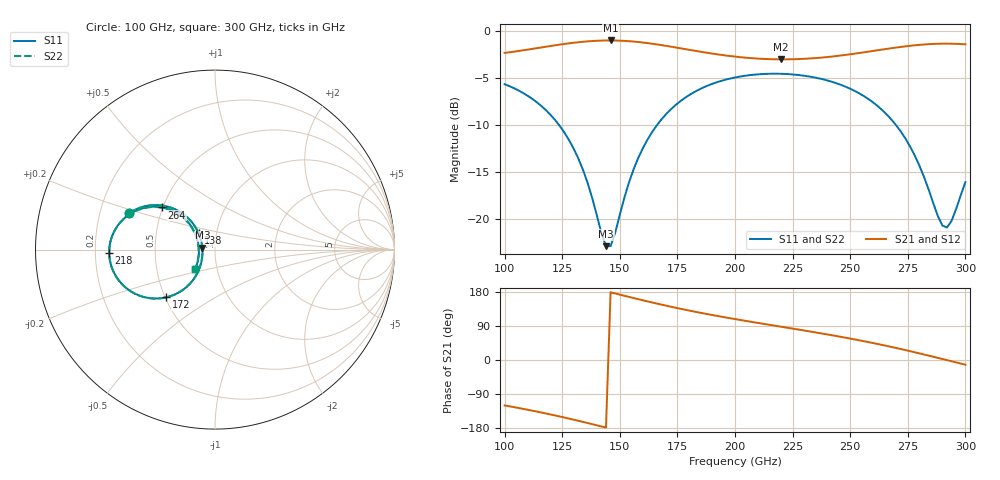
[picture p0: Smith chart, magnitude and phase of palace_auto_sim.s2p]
#  GHZ S DB R 50
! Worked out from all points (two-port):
!   101 points, 100 GHz to 300 GHz, reference 50 ohm
!   highest |S21| = -1.05 dB at 146 GHz (marker M1); lowest = -3.1 dB at 220 GHz (marker M2)
!   |S21| within 3 dB of the highest: start of sweep to end of sweep
!   lowest |S11| = -22.9 dB at 144 GHz (marker M3), VSWR 1.15, Z = 43.4 + j0.98 ohm
!   |S11| at or under -10 dB: 123.5 GHz to 166.3 GHz (42.8 GHz wide, 29.5 % of centre); 269.7 GHz to end of sweep
!   |S22| runs from -22.9 to -4.6 dB; largest |S21 - S12| = 1.4e-13
!   S11 on the Smith chart (normalised r, x): 100 GHz: 0.33, +0.18; 138 GHz: 0.82, +0.15; 172 GHz: 0.51, -0.32; 218 GHz: 0.26, -0.01; 264 GHz: 0.50, +0.27; 300 GHz: 0.78, -0.18
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100  -5.70 156.8  -2.37 -119.9  -2.37 -119.9  -5.70 156.9
120  -8.98 137.7  -1.64 -143.8  -1.64 -143.8  -8.97 137.8
128  -11.66 131.5  -1.36 -154.7  -1.36 -154.7  -11.65 131.6
134  -14.79 130.3  -1.19 -163.3  -1.19 -163.3  -14.78 130.5
138  -17.77 134.9  -1.11 -169.3  -1.11 -169.3  -17.76 135.1
144  -22.91 171.0  -1.05 -178.3  -1.05 -178.3  -22.88 171.1
146  -22.90 -166.5  -1.05 178.6  -1.05 178.6  -22.87 -166.5
156  -14.74 -126.1  -1.17 163.5  -1.17 163.5  -14.73 -126.1
168  -9.47 -131.9  -1.54 146.2  -1.54 146.2  -9.46 -131.8
172  -8.41 -135.6  -1.70 140.9  -1.70 140.9  -8.41 -135.5
184  -6.32 -147.3  -2.21 125.8  -2.21 125.8  -6.31 -147.2
200  -4.99 -162.4  -2.77 108.0  -2.77 108.0  -4.99 -162.3
218  -4.59 -178.2  -3.05 89.8  -3.05 89.8  -4.58 -178.1
220  -4.59 -180.0  -3.06 87.8  -3.06 87.8  -4.59 -179.8
234  -4.96 168.0  -2.94 73.8  -2.94 73.8  -4.96 168.1
250  -6.18 153.8  -2.52 56.5  -2.52 56.5  -6.18 154.0
264  -8.47 141.4  -2.01 39.5  -2.01 39.5  -8.46 141.7
268  -9.49 138.3  -1.87 34.3  -1.87 34.3  -9.48 138.7
278  -13.27 134.4  -1.57 20.4  -1.57 20.4  -13.24 134.9
290  -20.71 169.7  -1.39 2.6  -1.39 2.6  -20.57 170.2
294  -20.22 -158.5  -1.40 -3.4  -1.40 -3.4  -20.09 -158.7
300  -16.10 -135.1  -1.46 -12.4  -1.46 -12.4  -16.05 -135.4
